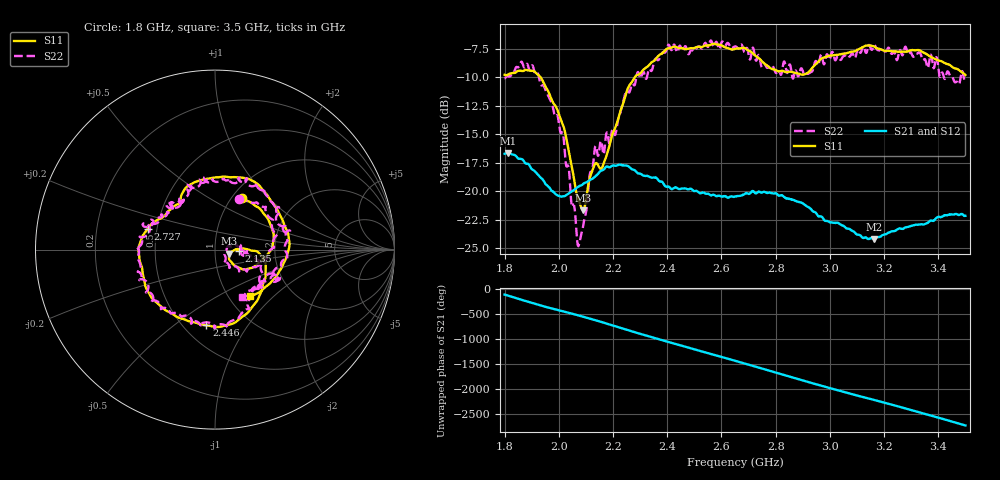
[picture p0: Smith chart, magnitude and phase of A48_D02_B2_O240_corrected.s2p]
! Created with skrf 1.9.0 (http://scikit-rf.org).
# Hz S RI R 50.0
!freq ReS11 ImS11 ReS21 ImS21 ReS12 ImS12 ReS22 ImS22
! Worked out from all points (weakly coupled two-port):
!   1601 points, 1.8 GHz to 3.5 GHz, reference 50 ohm
!   highest |S21| = -16.64 dB at 1.812 GHz (marker M1); lowest = -24.2 dB at 3.163 GHz (marker M2)
!   lowest |S11| = -21.7 dB at 2.09 GHz (marker M3), VSWR 1.18, Z = 58.6 - j2.61 ohm
!   |S11| at or under -10 dB: 1.933 GHz to 2.28 GHz (346.6 MHz wide, 16.5 % of centre)
!   |S22| runs from -24.8 to -6.8 dB; largest |S21 - S12| = 0.0026
!   S11 on the Smith chart (normalised r, x): 1.8 GHz: 1.11, +0.71; 2.135 GHz: 1.30, -0.02; 2.446 GHz: 0.64, -0.66; 2.727 GHz: 0.44, +0.12; 3.5 GHz: 1.25, -0.72
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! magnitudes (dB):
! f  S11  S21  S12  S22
! 1.8 GHz  -9.8  -16.7  -16.7  -10.1
! 1.812 GHz  -9.8  -16.6  -16.6  -9.9
! 1.902 GHz  -9.4  -18.1  -18.0  -8.9
! 1.966 GHz  -11.5  -19.7  -19.8  -11.9
! 2.014 GHz  -14.1  -20.4  -20.5  -14.9
! 2.071 GHz  -20.6  -19.6  -19.6  -24.8
! 2.084 GHz  -21.5  -19.5  -19.4  -23.7
! 2.09 GHz  -21.7  -19.4  -19.4  -23.0
! 2.135 GHz  -17.6  -18.7  -18.7  -16.1
! 2.164 GHz  -17.6  -18.1  -18.1  -16.8
! 2.21 GHz  -14.3  -17.8  -17.7  -14.9
! 2.261 GHz  -10.7  -17.9  -17.9  -11.3
! 2.367 GHz  -8.1  -19.0  -19.0  -8.5
! 2.446 GHz  -7.4  -19.8  -19.8  -7.2
! 2.65 GHz  -7.5  -20.5  -20.4  -7.3
! 2.727 GHz  -8.1  -20.2  -20.2  -8.5
! 2.808 GHz  -9.5  -20.3  -20.3  -9.4
! 2.934 GHz  -9.2  -21.7  -21.7  -9.5
! 3.163 GHz  -7.3  -24.2  -24.2  -7.2
! 3.217 GHz  -7.7  -23.6  -23.6  -7.4
! 3.331 GHz  -7.6  -22.9  -22.9  -7.8
! 3.5 GHz  -9.8  -22.2  -22.1  -10.3
